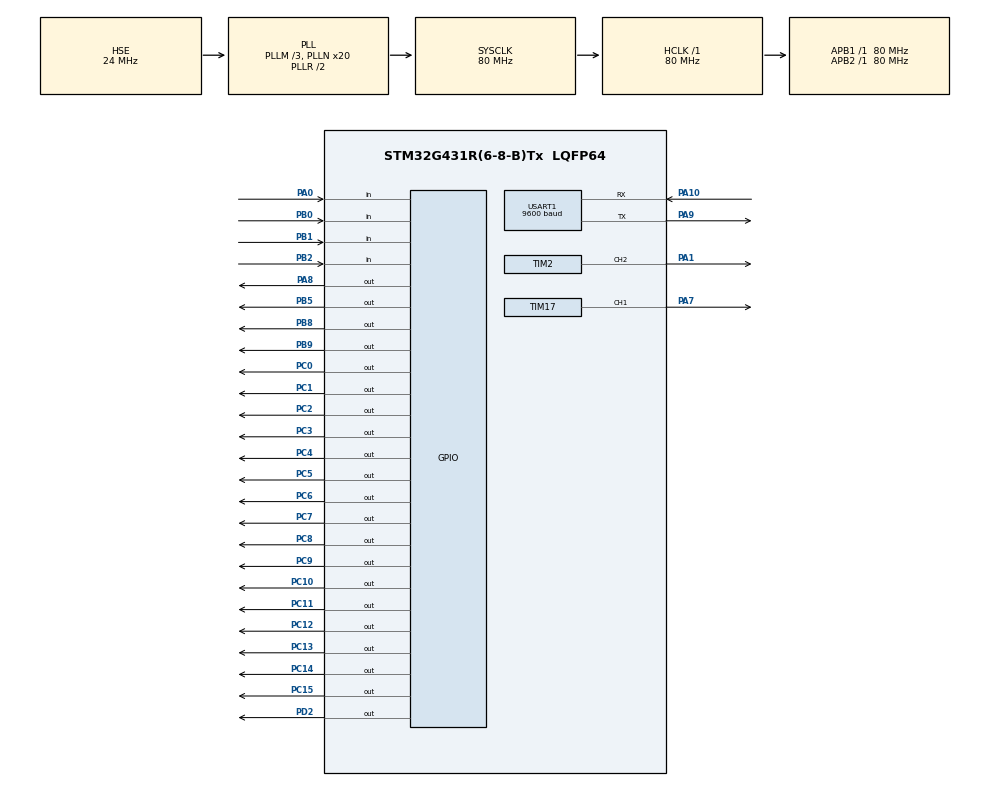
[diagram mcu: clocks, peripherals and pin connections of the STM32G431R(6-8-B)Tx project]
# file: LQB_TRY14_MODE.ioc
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Mcu.Family=STM32G4
Mcu.Name=STM32G431R(6-8-B)Tx
Mcu.Package=LQFP64
NVIC.PriorityGroup=NVIC_PRIORITYGROUP_4
NVIC.TIM6_DAC_IRQn=true\:0\:0\:false\:false\:true\:true\:true
NVIC.USART1_IRQn=true\:0\:0\:false\:false\:true\:true\:true
PA0.GPIO_Mode=GPIO_MODE_INPUT
PA0.GPIO_PuPd=GPIO_PULLUP
PA0.Signal=GPIO_Input
PA1.Signal=S_TIM2_CH2
PA10.Mode=Asynchronous
PA10.Signal=USART1_RX
PA13.Mode=Serial_Wire
PA13.Signal=SYS_JTMS-SWDIO
PA14.Mode=Serial_Wire
PA14.Signal=SYS_JTCK-SWCLK
PA7.Signal=S_TIM17_CH1
PA8.Signal=GPIO_Output
PA9.Mode=Asynchronous
PA9.Signal=USART1_TX
PB0.GPIO_Mode=GPIO_MODE_INPUT
PB0.GPIO_PuPd=GPIO_PULLUP
PB0.Signal=GPIO_Input
PB1.GPIO_Mode=GPIO_MODE_INPUT
PB1.GPIO_PuPd=GPIO_PULLUP
PB1.Signal=GPIO_Input
PB2.GPIO_Mode=GPIO_MODE_INPUT
PB2.GPIO_PuPd=GPIO_PULLUP
PB2.Signal=GPIO_Input
PB5.Signal=GPIO_Output
PB8-BOOT0.Signal=GPIO_Output
PB9.Signal=GPIO_Output
PC0.Signal=GPIO_Output
PC1.Signal=GPIO_Output
PC10.Signal=GPIO_Output
PC11.Signal=GPIO_Output
PC12.Signal=GPIO_Output
PC13.Signal=GPIO_Output
PC14-OSC32_IN.Signal=GPIO_Output
PC15-OSC32_OUT.Signal=GPIO_Output
PC2.Signal=GPIO_Output
PC3.Signal=GPIO_Output
PC4.Signal=GPIO_Output
PC5.Signal=GPIO_Output
PC6.Signal=GPIO_Output
PC7.Signal=GPIO_Output
PC8.Signal=GPIO_Output
PC9.Signal=GPIO_Output
PD2.Signal=GPIO_Output
PF0-OSC_IN.Mode=HSE-External-Oscillator
PF0-OSC_IN.Signal=RCC_OSC_IN
PF1-OSC_OUT.Mode=HSE-External-Oscillator
PF1-OSC_OUT.Signal=RCC_OSC_OUT
ProjectManager.HeapSize=0x200
ProjectManager.StackSize=0x400
ProjectManager.TargetToolchain=MDK-ARM V5
RCC.ADC12Freq_Value=80000000
RCC.AHBFreq_Value=80000000
RCC.APB1Freq_Value=80000000
RCC.APB1TimFreq_Value=80000000
RCC.APB2Freq_Value=80000000
RCC.APB2TimFreq_Value=80000000
RCC.CortexFreq_Value=80000000
RCC.EXTERNAL_CLOCK_VALUE=12288000
RCC.HCLKFreq_Value=80000000
RCC.HSE_VALUE=24000000
RCC.HSI48_VALUE=48000000
RCC.HSI_VALUE=16000000
RCC.LSE_VALUE=32768
RCC.PLLM=RCC_PLLM_DIV3
RCC.PLLN=20
RCC.PLLSourceVirtual=RCC_PLLSOURCE_HSE
RCC.SYSCLKFreq_VALUE=80000000
RCC.SYSCLKSource=RCC_SYSCLKSOURCE_PLLCLK
RCC.USBFreq_Value=80000000
RCC.VCOOutputFreq_Value=160000000
SH.S_TIM17_CH1.0=TIM17_CH1,PWM Generation1 CH1
SH.S_TIM2_CH2.0=TIM2_CH2,PWM Generation2 CH2
TIM17.Channel=TIM_CHANNEL_1
TIM17.PeriodNoDither=1000-1
TIM17.Prescaler=80-1
TIM17.PulseNoDither_1=100
TIM2.Channel-PWM\ Generation2\ CH2=TIM_CHANNEL_2
TIM2.PeriodNoDither=1000-1
TIM2.Prescaler=80-1
TIM2.PulseNoDither_2=100
TIM6.PeriodNoDither=1000-1
TIM6.Prescaler=800-1
USART1.BaudRate=9600
USART1.VirtualMode-Asynchronous=VM_ASYNC
USART1.WordLength=WORDLENGTH_8B
VP_SYS_VS_DBSignals.Mode=DisableDeadBatterySignals
VP_TIM17_VS_ClockSourceINT.Mode=Enable_Timer
VP_TIM6_VS_ClockSourceINT.Mode=Enable_Timer
board=custom

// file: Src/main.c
/* USER CODE BEGIN Header */
/**
  ******************************************************************************
  * @file           : main.c
  * @brief          : Main program body
  ******************************************************************************
  * @attention
  *
  * <h2><center>&copy; Copyright (c) 2023 STMicroelectronics.
  * All rights reserved.</center></h2>
  *
  * This software component is licensed by ST under BSD 3-Clause license,
  * the "License"; You may not use this file except in compliance with the
  * License. You may obtain a copy of the License at:
  *                        opensource.org/licenses/BSD-3-Clause
  *
  ******************************************************************************
  */
/* USER CODE END Header */

#include "main.h"
#include "tim.h"
#include "usart.h"
#include "gpio.h"

/* USER CODE BEGIN Includes */
#include "lcd.h"
#include "mint.h"
#include "stdio.h"

/* USER CODE END Includes */

/* USER CODE BEGIN PV */
uint8_t rxdat,flag=2,time_flag=0;

bool page=0,mode=0;
int frq1=1000,frq7=1000;
double duty1=10,duty7=10;

char text[30];

extern keys key[4];

/* USER CODE END PV */

void SystemClock_Config(void);
/* USER CODE BEGIN PFP */
void LCD_Proc(void);
void KEY_Proc(void);

/* USER CODE END PFP */

int main(void)
{

  /* MCU Configuration--------------------------------------------------------*/

  /* Reset of all peripherals, Initializes the Flash interface and the Systick. */
  HAL_Init();

  /* Configure the system clock */
  SystemClock_Config();

  /* Initialize all configured peripherals */
  MX_GPIO_Init();
  MX_TIM2_Init();
  MX_TIM6_Init();
  MX_TIM17_Init();
  MX_USART1_UART_Init();
  /* USER CODE BEGIN 2 */
	HAL_TIM_Base_Start_IT(&htim6);

	HAL_TIM_PWM_Start(&htim2,TIM_CHANNEL_2);
	__HAL_TIM_SetCompare(&htim2,TIM_CHANNEL_2,100);

	HAL_TIM_PWM_Start(&htim17,TIM_CHANNEL_1);
	__HAL_TIM_SetCompare(&htim17,TIM_CHANNEL_1,100);

	HAL_UART_Receive_IT(&huart1,&rxdat,1);

	LCD_Init();
	LCD_Clear(Black);
	LCD_SetBackColor(Black);
	LCD_SetTextColor(White);
  /* USER CODE END 2 */

  /* Infinite loop */
  while (1)
  {
		LCD_Proc();
		KEY_Proc();
		if(page == 0 && flag == 0)
		{
			LED_Proc(2,0);
			LED_Proc(1,time_flag);
		}
		else if(page == 0 && flag == 1)
		{
			LED_Proc(2,time_flag);
			LED_Proc(1,1);
		}
		else if(page == 1 && flag == 0)
		{
			LED_Proc(2,1);
			LED_Proc(1,time_flag);
		}
		else if(page == 1 && flag == 1)
		{
			LED_Proc(2,time_flag);
			LED_Proc(1,0);
		}
		else if(page == 1 && flag == 2)
		{
			LED_Proc(1,0);
			LED_Proc(2,1);
		}
		else if(page == 0 && flag == 2)
		{
			LED_Proc(2,0);
			LED_Proc(1,1);
		}
		if(mode == 0) LED_Proc(3,1);
		else LED_Proc(3,0);
  }
}

void SystemClock_Config(void)
{
  RCC_OscInitTypeDef RCC_OscInitStruct = {0};
  RCC_ClkInitTypeDef RCC_ClkInitStruct = {0};
  RCC_PeriphCLKInitTypeDef PeriphClkInit = {0};

  /** Configure the main internal regulator output voltage
  */
  HAL_PWREx_ControlVoltageScaling(PWR_REGULATOR_VOLTAGE_SCALE1);
  /** Initializes the CPU, AHB and APB busses clocks
  */
  RCC_OscInitStruct.OscillatorType = RCC_OSCILLATORTYPE_HSE;
  RCC_OscInitStruct.HSEState = RCC_HSE_ON;
  RCC_OscInitStruct.PLL.PLLState = RCC_PLL_ON;
  RCC_OscInitStruct.PLL.PLLSource = RCC_PLLSOURCE_HSE;
  RCC_OscInitStruct.PLL.PLLM = RCC_PLLM_DIV3;
  RCC_OscInitStruct.PLL.PLLN = 20;
  RCC_OscInitStruct.PLL.PLLP = RCC_PLLP_DIV2;
  RCC_OscInitStruct.PLL.PLLQ = RCC_PLLQ_DIV2;
  RCC_OscInitStruct.PLL.PLLR = RCC_PLLR_DIV2;
  if (HAL_RCC_OscConfig(&RCC_OscInitStruct) != HAL_OK)
  {
    Error_Handler();
  }
  /** Initializes the CPU, AHB and APB busses clocks
  */
  RCC_ClkInitStruct.ClockType = RCC_CLOCKTYPE_HCLK|RCC_CLOCKTYPE_SYSCLK
                              |RCC_CLOCKTYPE_PCLK1|RCC_CLOCKTYPE_PCLK2;
  RCC_ClkInitStruct.SYSCLKSource = RCC_SYSCLKSOURCE_PLLCLK;
  RCC_ClkInitStruct.AHBCLKDivider = RCC_SYSCLK_DIV1;
  RCC_ClkInitStruct.APB1CLKDivider = RCC_HCLK_DIV1;
  RCC_ClkInitStruct.APB2CLKDivider = RCC_HCLK_DIV1;

  if (HAL_RCC_ClockConfig(&RCC_ClkInitStruct, FLASH_LATENCY_3) != HAL_OK)
  {
    Error_Handler();
  }
  /** Initializes the peripherals clocks
  */
  PeriphClkInit.PeriphClockSelection = RCC_PERIPHCLK_USART1;
  PeriphClkInit.Usart1ClockSelection = RCC_USART1CLKSOURCE_PCLK2;
  if (HAL_RCCEx_PeriphCLKConfig(&PeriphClkInit) != HAL_OK)
  {
    Error_Handler();
  }
}

/* USER CODE BEGIN 4 */

void LCD_Proc(void)
{
	if(page == 0)
	{
		LCD_DisplayStringLine(Line1,(u8*)"        PA1         ");
		sprintf(text,"      F:%dHz      ",frq1);
		LCD_DisplayStringLine(Line3,(u8*)text);
		sprintf(text,"      D:%.0f%%      ",duty1);
		LCD_DisplayStringLine(Line4,(u8*)text);
	}
	else if(page == 1)
	{
		LCD_DisplayStringLine(Line1,(u8*)"        PA7         ");
		sprintf(text,"      F:%dHz      ",frq7);
		LCD_DisplayStringLine(Line3,(u8*)text);
		sprintf(text,"      D:%.0f%%      ",duty7);
		LCD_DisplayStringLine(Line4,(u8*)text);
	}
	else page = 0;
}

void KEY_Proc(void)
{
	/******************************B0******************************/
	if(key[0].single_sta == 1)
	{
		if(page == 0) frq1 = (frq1+1000)>10000?1000:(frq1+1000);
		else frq7 = (frq7+1000)>10000?1000:(frq7+1000);

		if(frq1 > frq7) flag = 0;
		else if(frq1 < frq7)flag = 1;
		else if(frq1 == frq7)flag = 2;

		htim2.Init.Period = (1000000/frq1)-1;
		HAL_TIM_Base_Init(&htim2);

		htim17.Init.Period = (1000000/frq7)-1;
		HAL_TIM_Base_Init(&htim17);

		__HAL_TIM_SetCompare(&htim2,TIM_CHANNEL_2,(int)(duty1/100*(double)(1000000/frq1)));
		__HAL_TIM_SetCompare(&htim17,TIM_CHANNEL_1,(int)(duty7/100*(double)(1000000/frq7)));

//		htim2.Init.Prescaler = (800000/frq1)-1;
//		HAL_TIM_Base_Init(&htim2);

		key[0].single_sta = 0;
	}
	/******************************B1******************************/
	if(key[1].single_sta == 1)
	{
		if(page == 0) duty1 = (duty1+10)>90?10:(duty1+10);
		else duty7 = (duty7+10)>90?10:(duty7+10);

		__HAL_TIM_SetCompare(&htim2,TIM_CHANNEL_2,(int)(duty1/100*(double)(1000000/frq1)));
		__HAL_TIM_SetCompare(&htim17,TIM_CHANNEL_1,(int)(duty7/100*(double)(1000000/frq7)));

		key[1].single_sta = 0;
	}
	/******************************B2******************************/
	if(key[2].single_sta == 1)
	{
		if(mode == 0) page = 1-page;
		key[2].single_sta = 0;
	}
	/******************************B3******************************/
	if(key[3].single_sta == 1)
	{
		mode = 1 - mode;
		if(mode == 1) LED_Proc(3,0);
		else LED_Proc(3,1);
		key[3].single_sta = 0;
	}
}
/* USER CODE END 4 */

void Error_Handler(void)
{
}

/************************ (C) COPYRIGHT STMicroelectronics *****END OF FILE****/
